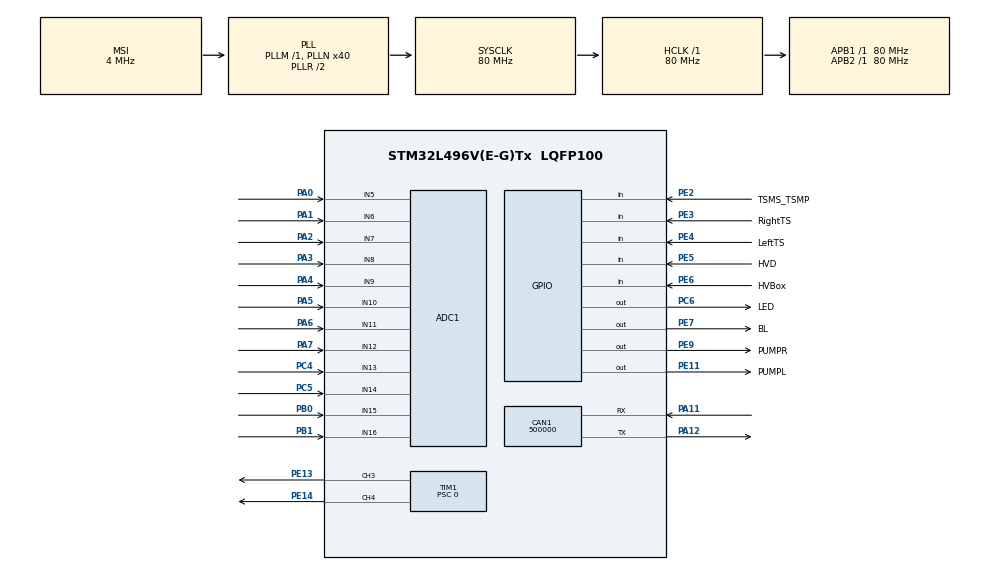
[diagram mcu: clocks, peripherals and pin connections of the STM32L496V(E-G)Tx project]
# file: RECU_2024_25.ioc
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ADC1.Channel-0\#ChannelRegularConversion=ADC_CHANNEL_5
ADC1.Channel-1\#ChannelRegularConversion=ADC_CHANNEL_6
ADC1.Channel-10\#ChannelRegularConversion=ADC_CHANNEL_15
ADC1.Channel-11\#ChannelRegularConversion=ADC_CHANNEL_16
ADC1.Channel-2\#ChannelRegularConversion=ADC_CHANNEL_7
ADC1.Channel-3\#ChannelRegularConversion=ADC_CHANNEL_8
ADC1.Channel-4\#ChannelRegularConversion=ADC_CHANNEL_9
ADC1.Channel-5\#ChannelRegularConversion=ADC_CHANNEL_10
ADC1.Channel-6\#ChannelRegularConversion=ADC_CHANNEL_11
ADC1.Channel-7\#ChannelRegularConversion=ADC_CHANNEL_12
ADC1.Channel-8\#ChannelRegularConversion=ADC_CHANNEL_13
ADC1.Channel-9\#ChannelRegularConversion=ADC_CHANNEL_14
ADC1.ClockPrescaler=ADC_CLOCK_ASYNC_DIV16
ADC1.ContinuousConvMode=ENABLE
ADC1.DMAContinuousRequests=ENABLE
ADC1.ExternalTrigConv=ADC_EXTERNALTRIG_T8_TRGO
ADC1.NbrOfConversion=12
ADC1.NbrOfConversionFlag=1
ADC1.OffsetNumber-0\#ChannelRegularConversion=ADC_OFFSET_NONE
ADC1.OffsetNumber-1\#ChannelRegularConversion=ADC_OFFSET_NONE
ADC1.OffsetNumber-10\#ChannelRegularConversion=ADC_OFFSET_NONE
ADC1.OffsetNumber-11\#ChannelRegularConversion=ADC_OFFSET_NONE
ADC1.OffsetNumber-2\#ChannelRegularConversion=ADC_OFFSET_NONE
ADC1.OffsetNumber-3\#ChannelRegularConversion=ADC_OFFSET_NONE
ADC1.OffsetNumber-4\#ChannelRegularConversion=ADC_OFFSET_NONE
ADC1.OffsetNumber-5\#ChannelRegularConversion=ADC_OFFSET_NONE
ADC1.OffsetNumber-6\#ChannelRegularConversion=ADC_OFFSET_NONE
ADC1.OffsetNumber-7\#ChannelRegularConversion=ADC_OFFSET_NONE
ADC1.OffsetNumber-8\#ChannelRegularConversion=ADC_OFFSET_NONE
ADC1.OffsetNumber-9\#ChannelRegularConversion=ADC_OFFSET_NONE
ADC1.Rank-0\#ChannelRegularConversion=1
ADC1.Rank-1\#ChannelRegularConversion=2
ADC1.Rank-10\#ChannelRegularConversion=11
ADC1.Rank-11\#ChannelRegularConversion=12
ADC1.Rank-2\#ChannelRegularConversion=3
ADC1.Rank-3\#ChannelRegularConversion=4
ADC1.Rank-4\#ChannelRegularConversion=5
ADC1.Rank-5\#ChannelRegularConversion=6
ADC1.Rank-6\#ChannelRegularConversion=7
ADC1.Rank-7\#ChannelRegularConversion=8
ADC1.Rank-8\#ChannelRegularConversion=9
ADC1.Rank-9\#ChannelRegularConversion=10
ADC1.SamplingTime-0\#ChannelRegularConversion=ADC_SAMPLETIME_24CYCLES_5
ADC1.SamplingTime-1\#ChannelRegularConversion=ADC_SAMPLETIME_24CYCLES_5
ADC1.SamplingTime-10\#ChannelRegularConversion=ADC_SAMPLETIME_24CYCLES_5
ADC1.SamplingTime-11\#ChannelRegularConversion=ADC_SAMPLETIME_24CYCLES_5
ADC1.SamplingTime-2\#ChannelRegularConversion=ADC_SAMPLETIME_24CYCLES_5
ADC1.SamplingTime-3\#ChannelRegularConversion=ADC_SAMPLETIME_24CYCLES_5
ADC1.SamplingTime-4\#ChannelRegularConversion=ADC_SAMPLETIME_24CYCLES_5
ADC1.SamplingTime-5\#ChannelRegularConversion=ADC_SAMPLETIME_24CYCLES_5
ADC1.SamplingTime-6\#ChannelRegularConversion=ADC_SAMPLETIME_24CYCLES_5
ADC1.SamplingTime-7\#ChannelRegularConversion=ADC_SAMPLETIME_24CYCLES_5
ADC1.SamplingTime-8\#ChannelRegularConversion=ADC_SAMPLETIME_24CYCLES_5
ADC1.SamplingTime-9\#ChannelRegularConversion=ADC_SAMPLETIME_24CYCLES_5
ADC1.master=1
CAN1.BS1=CAN_BS1_6TQ
CAN1.BS2=CAN_BS2_3TQ
CAN1.CalculateBaudRate=500000
CAN1.CalculateTimeBit=2000
CAN1.CalculateTimeQuantum=200.0
Dma.ADC1.0.Direction=DMA_PERIPH_TO_MEMORY
Dma.ADC1.0.Instance=DMA1_Channel1
Dma.ADC1.0.MemDataAlignment=DMA_MDATAALIGN_HALFWORD
Dma.ADC1.0.MemInc=DMA_MINC_ENABLE
Dma.ADC1.0.Mode=DMA_CIRCULAR
Dma.ADC1.0.PeriphDataAlignment=DMA_PDATAALIGN_HALFWORD
Dma.ADC1.0.PeriphInc=DMA_PINC_DISABLE
Dma.ADC1.0.Priority=DMA_PRIORITY_MEDIUM
Dma.Request0=ADC1
FREERTOS.BinarySemaphores01=BinSemControl,Dynamic,NULL,Depleted
FREERTOS.Tasks01=CAN,2,128,StartCAN,Default,NULL,Dynamic,NULL,NULL;ADC,0,128,StartADC,Default,NULL,Dynamic,NULL,NULL;Shutdown,-1,128,StartShutdown,Default,NULL,Dynamic,NULL,NULL;Control,1,128,StartControl,Default,NULL,Dynamic,NULL,NULL
FREERTOS.configUSE_NEWLIB_REENTRANT=1
Mcu.Family=STM32L4
Mcu.Name=STM32L496V(E-G)Tx
Mcu.Package=LQFP100
NVIC.ADC1_2_IRQn=true\:5\:0\:false\:false\:true\:true\:true\:true\:true
NVIC.CAN1_RX0_IRQn=true\:5\:0\:false\:false\:true\:true\:true\:true\:true
NVIC.CAN1_RX1_IRQn=true\:5\:0\:false\:false\:true\:true\:true\:true\:true
NVIC.DMA1_Channel1_IRQn=true\:5\:0\:false\:false\:true\:true\:false\:true\:true
NVIC.PriorityGroup=NVIC_PRIORITYGROUP_4
NVIC.TIM4_IRQn=true\:15\:0\:false\:false\:true\:false\:false\:true\:true
NVIC.TimeBase=TIM4_IRQn
NVIC.TimeBaseIP=TIM4
PA0.Signal=ADCx_IN5
PA1.Signal=ADCx_IN6
PA11.Mode=CAN_Activate
PA11.Signal=CAN1_RX
PA12.Mode=CAN_Activate
PA12.Signal=CAN1_TX
PA2.Signal=ADCx_IN7
PA3.Signal=ADCx_IN8
PA4.Signal=ADCx_IN9
PA5.Signal=ADCx_IN10
PA6.Signal=ADCx_IN11
PA7.Signal=ADCx_IN12
PB0.Signal=ADCx_IN15
PB1.Signal=ADCx_IN16
PC4.Signal=ADCx_IN13
PC5.Signal=ADCx_IN14
PC6.GPIO_Label=LED
PC6.Signal=GPIO_Output
PE11.GPIO_Label=PUMPL
PE11.Signal=GPIO_Output
PE13.Signal=S_TIM1_CH3
PE14.Signal=S_TIM1_CH4
PE2.GPIO_Label=TSMS_TSMP
PE2.Signal=GPIO_Input
PE3.GPIO_Label=RightTS
PE3.Signal=GPIO_Input
PE4.GPIO_Label=LeftTS
PE4.Signal=GPIO_Input
PE5.GPIO_Label=HVD
PE5.Signal=GPIO_Input
PE6.GPIO_Label=HVBox
PE6.Signal=GPIO_Input
PE7.GPIO_Label=BL
PE7.Signal=GPIO_Output
PE9.GPIO_Label=PUMPR
PE9.Signal=GPIO_Output
ProjectManager.HeapSize=0x200
ProjectManager.StackSize=0x400
ProjectManager.TargetToolchain=STM32CubeIDE
RCC.ADCFreq_Value=32000000
RCC.AHBFreq_Value=80000000
RCC.APB1Freq_Value=80000000
RCC.APB1TimFreq_Value=80000000
RCC.APB2Freq_Value=80000000
RCC.APB2TimFreq_Value=80000000
RCC.CortexFreq_Value=80000000
RCC.HCLKFreq_Value=80000000
RCC.HSE_VALUE=8000000
RCC.HSI48_VALUE=48000000
RCC.HSI_VALUE=16000000
RCC.LSE_VALUE=32768
RCC.MSI_VALUE=4000000
RCC.PLLN=40
RCC.PLLSAI1N=16
RCC.SYSCLKFreq_VALUE=80000000
RCC.SYSCLKSource=RCC_SYSCLKSOURCE_PLLCLK
RCC.USBFreq_Value=32000000
RCC.VCOOutputFreq_Value=160000000
SH.ADCx_IN10.0=ADC1_IN10,IN10-Single-Ended
SH.ADCx_IN11.0=ADC1_IN11,IN11-Single-Ended
SH.ADCx_IN12.0=ADC1_IN12,IN12-Single-Ended
SH.ADCx_IN13.0=ADC1_IN13,IN13-Single-Ended
SH.ADCx_IN14.0=ADC1_IN14,IN14-Single-Ended
SH.ADCx_IN15.0=ADC1_IN15,IN15-Single-Ended
SH.ADCx_IN16.0=ADC1_IN16,IN16-Single-Ended
SH.ADCx_IN5.0=ADC1_IN5,IN5-Single-Ended
SH.ADCx_IN6.0=ADC1_IN6,IN6-Single-Ended
SH.ADCx_IN7.0=ADC1_IN7,IN7-Single-Ended
SH.ADCx_IN8.0=ADC1_IN8,IN8-Single-Ended
SH.ADCx_IN9.0=ADC1_IN9,IN9-Single-Ended
SH.S_TIM1_CH3.0=TIM1_CH3,PWM Generation3 CH3
SH.S_TIM1_CH4.0=TIM1_CH4,PWM Generation4 CH4
TIM1.Channel-PWM\ Generation3\ CH3=TIM_CHANNEL_3
TIM1.Channel-PWM\ Generation4\ CH4=TIM_CHANNEL_4
TIM1.Period=4000
TIM1.Prescaler=0
TIM8.Prescaler=20
TIM8.TIM_MasterOutputTrigger=TIM_TRGO_UPDATE
TIM8.TIM_MasterOutputTrigger2=TIM_TRGO2_UPDATE
VP_FREERTOS_VS_CMSIS_V1.Mode=CMSIS_V1
VP_SYS_VS_tim4.Mode=TIM4
VP_TIM8_VS_ClockSourceINT.Mode=Internal
board=custom

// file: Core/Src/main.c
/* USER CODE BEGIN Header */
/**
  ******************************************************************************
  * @file           : main.c
  * @brief          : Main program body
  ******************************************************************************
  * @attention
  *
  * Copyright (c) 2025 STMicroelectronics.
  * All rights reserved.
  *
  * This software is licensed under terms that can be found in the LICENSE file
  * in the root directory of this software component.
  * If no LICENSE file comes with this software, it is provided AS-IS.
  *
  ******************************************************************************
  */
/* USER CODE END Header */
#include "main.h"
#include "cmsis_os.h"

/* USER CODE BEGIN Includes */
#include "CAN_X_2025.h"
#include "CAN.h"
/* USER CODE END Includes */

ADC_HandleTypeDef hadc1;
DMA_HandleTypeDef hdma_adc1;

CAN_HandleTypeDef hcan1;

TIM_HandleTypeDef htim1;
TIM_HandleTypeDef htim8;

osThreadId CANHandle;
osThreadId ADCHandle;
osThreadId ShutdownHandle;
osThreadId ControlHandle;
osSemaphoreId BinSemControlHandle;
/* USER CODE BEGIN PV */
// Adc
uint16_t adc_buffer[12];
// Can
uint8_t TxData[8];
uint8_t RxData[8];
uint32_t TxMailbox;
CAN_TxHeaderTypeDef TxHeader;
CAN_RxHeaderTypeDef RxHeader;

typedef enum {
	RAW_RECU_Data,
	STAT_RECU_Keep_Alive,
}STATES;

STATES CAN_FSM_STATE;
uint16_t dutycycle_L;
uint16_t dutycycle_R;

// Cooling
float Temp_L = 0;
float Temp_R = 0;
uint8_t flag;
uint8_t flag1;
/* USER CODE END PV */

void SystemClock_Config(void);
static void MX_GPIO_Init(void);
static void MX_DMA_Init(void);
static void MX_ADC1_Init(void);
static void MX_CAN1_Init(void);
static void MX_TIM8_Init(void);
static void MX_TIM1_Init(void);
void StartCAN(void const * argument);
void StartADC(void const * argument);
void StartShutdown(void const * argument);
void StartControl(void const * argument);

int main(void)
{

  /* MCU Configuration--------------------------------------------------------*/

  /* Reset of all peripherals, Initializes the Flash interface and the Systick. */
  HAL_Init();

  /* Configure the system clock */
  SystemClock_Config();

  /* Initialize all configured peripherals */
  MX_GPIO_Init();
  MX_DMA_Init();
  MX_ADC1_Init();
  MX_CAN1_Init();
  MX_TIM8_Init();
  MX_TIM1_Init();
  /* USER CODE BEGIN 2 */
  //-------------StartCAN---------------------------
  HAL_CAN_Start(&hcan1);
  HAL_CAN_ActivateNotification(&hcan1, CAN_IT_RX_FIFO0_MSG_PENDING);

  Init_CAN_Filter(&hcan1);
  HAL_Delay(100);
  //-------------StartDMA---------------------------
  HAL_ADC_Start_DMA(&hadc1,(uint32_t*) adc_buffer, 12);
  HAL_TIM_Base_Start(&htim8);

  //-------------PWM--------------------------------
  HAL_TIM_PWM_Start(&htim1, TIM_CHANNEL_3);
  HAL_TIM_PWM_Start(&htim1, TIM_CHANNEL_4);

  flag = 0;
  CAN_FSM_STATE = RAW_RECU_Data;
  Rear_Alive = 0;
  /* USER CODE END 2 */

  /* Create the semaphores(s) */
  /* definition and creation of BinSemControl */
  osSemaphoreDef(BinSemControl);
  BinSemControlHandle = osSemaphoreCreate(osSemaphore(BinSemControl), 1);

  /* Create the thread(s) */
  /* definition and creation of CAN */
  osThreadDef(CAN, StartCAN, osPriorityHigh, 0, 128);
  CANHandle = osThreadCreate(osThread(CAN), NULL);

  /* definition and creation of ADC */
  osThreadDef(ADC, StartADC, osPriorityNormal, 0, 128);
  ADCHandle = osThreadCreate(osThread(ADC), NULL);

  /* definition and creation of Shutdown */
  osThreadDef(Shutdown, StartShutdown, osPriorityBelowNormal, 0, 128);
  ShutdownHandle = osThreadCreate(osThread(Shutdown), NULL);

  /* definition and creation of Control */
  osThreadDef(Control, StartControl, osPriorityAboveNormal, 0, 128);
  ControlHandle = osThreadCreate(osThread(Control), NULL);

  /* Start scheduler */
  osKernelStart();

  /* We should never get here as control is now taken by the scheduler */

  /* Infinite loop */
  while (1)
  {

  }
}

void SystemClock_Config(void)
{
  RCC_OscInitTypeDef RCC_OscInitStruct = {0};
  RCC_ClkInitTypeDef RCC_ClkInitStruct = {0};

  /** Configure the main internal regulator output voltage
  */
  if (HAL_PWREx_ControlVoltageScaling(PWR_REGULATOR_VOLTAGE_SCALE1) != HAL_OK)
  {
    Error_Handler();
  }

  /** Initializes the RCC Oscillators according to the specified parameters
  * in the RCC_OscInitTypeDef structure.
  */
  RCC_OscInitStruct.OscillatorType = RCC_OSCILLATORTYPE_MSI;
  RCC_OscInitStruct.MSIState = RCC_MSI_ON;
  RCC_OscInitStruct.MSICalibrationValue = 0;
  RCC_OscInitStruct.MSIClockRange = RCC_MSIRANGE_6;
  RCC_OscInitStruct.PLL.PLLState = RCC_PLL_ON;
  RCC_OscInitStruct.PLL.PLLSource = RCC_PLLSOURCE_MSI;
  RCC_OscInitStruct.PLL.PLLM = 1;
  RCC_OscInitStruct.PLL.PLLN = 40;
  RCC_OscInitStruct.PLL.PLLP = RCC_PLLP_DIV2;
  RCC_OscInitStruct.PLL.PLLQ = RCC_PLLQ_DIV2;
  RCC_OscInitStruct.PLL.PLLR = RCC_PLLR_DIV2;
  if (HAL_RCC_OscConfig(&RCC_OscInitStruct) != HAL_OK)
  {
    Error_Handler();
  }

  /** Initializes the CPU, AHB and APB buses clocks
  */
  RCC_ClkInitStruct.ClockType = RCC_CLOCKTYPE_HCLK|RCC_CLOCKTYPE_SYSCLK
                              |RCC_CLOCKTYPE_PCLK1|RCC_CLOCKTYPE_PCLK2;
  RCC_ClkInitStruct.SYSCLKSource = RCC_SYSCLKSOURCE_PLLCLK;
  RCC_ClkInitStruct.AHBCLKDivider = RCC_SYSCLK_DIV1;
  RCC_ClkInitStruct.APB1CLKDivider = RCC_HCLK_DIV1;
  RCC_ClkInitStruct.APB2CLKDivider = RCC_HCLK_DIV1;

  if (HAL_RCC_ClockConfig(&RCC_ClkInitStruct, FLASH_LATENCY_4) != HAL_OK)
  {
    Error_Handler();
  }
}

static void MX_ADC1_Init(void)
{

  ADC_MultiModeTypeDef multimode = {0};
  ADC_ChannelConfTypeDef sConfig = {0};

  /** Common config
  */
  hadc1.Instance = ADC1;
  hadc1.Init.ClockPrescaler = ADC_CLOCK_ASYNC_DIV16;
  hadc1.Init.Resolution = ADC_RESOLUTION_12B;
  hadc1.Init.DataAlign = ADC_DATAALIGN_RIGHT;
  hadc1.Init.ScanConvMode = ADC_SCAN_ENABLE;
  hadc1.Init.EOCSelection = ADC_EOC_SINGLE_CONV;
  hadc1.Init.LowPowerAutoWait = DISABLE;
  hadc1.Init.ContinuousConvMode = ENABLE;
  hadc1.Init.NbrOfConversion = 12;
  hadc1.Init.DiscontinuousConvMode = DISABLE;
  hadc1.Init.ExternalTrigConv = ADC_EXTERNALTRIG_T8_TRGO;
  hadc1.Init.ExternalTrigConvEdge = ADC_EXTERNALTRIGCONVEDGE_RISING;
  hadc1.Init.DMAContinuousRequests = ENABLE;
  hadc1.Init.Overrun = ADC_OVR_DATA_PRESERVED;
  hadc1.Init.OversamplingMode = DISABLE;
  if (HAL_ADC_Init(&hadc1) != HAL_OK)
  {
    Error_Handler();
  }

  /** Configure the ADC multi-mode
  */
  multimode.Mode = ADC_MODE_INDEPENDENT;
  if (HAL_ADCEx_MultiModeConfigChannel(&hadc1, &multimode) != HAL_OK)
  {
    Error_Handler();
  }

  /** Configure Regular Channel
  */
  sConfig.Channel = ADC_CHANNEL_5;
  sConfig.Rank = ADC_REGULAR_RANK_1;
  sConfig.SamplingTime = ADC_SAMPLETIME_24CYCLES_5;
  sConfig.SingleDiff = ADC_SINGLE_ENDED;
  sConfig.OffsetNumber = ADC_OFFSET_NONE;
  sConfig.Offset = 0;
  if (HAL_ADC_ConfigChannel(&hadc1, &sConfig) != HAL_OK)
  {
    Error_Handler();
  }

  /** Configure Regular Channel
  */
  sConfig.Channel = ADC_CHANNEL_6;
  sConfig.Rank = ADC_REGULAR_RANK_2;
  if (HAL_ADC_ConfigChannel(&hadc1, &sConfig) != HAL_OK)
  {
    Error_Handler();
  }

  /** Configure Regular Channel
  */
  sConfig.Channel = ADC_CHANNEL_7;
  sConfig.Rank = ADC_REGULAR_RANK_3;
  if (HAL_ADC_ConfigChannel(&hadc1, &sConfig) != HAL_OK)
  {
    Error_Handler();
  }

  /** Configure Regular Channel
  */
  sConfig.Channel = ADC_CHANNEL_8;
  sConfig.Rank = ADC_REGULAR_RANK_4;
  if (HAL_ADC_ConfigChannel(&hadc1, &sConfig) != HAL_OK)
  {
    Error_Handler();
  }

  /** Configure Regular Channel
  */
  sConfig.Channel = ADC_CHANNEL_9;
  sConfig.Rank = ADC_REGULAR_RANK_5;
  if (HAL_ADC_ConfigChannel(&hadc1, &sConfig) != HAL_OK)
  {
    Error_Handler();
  }

  /** Configure Regular Channel
  */
  sConfig.Channel = ADC_CHANNEL_10;
  sConfig.Rank = ADC_REGULAR_RANK_6;
  if (HAL_ADC_ConfigChannel(&hadc1, &sConfig) != HAL_OK)
  {
    Error_Handler();
  }

  /** Configure Regular Channel
  */
  sConfig.Channel = ADC_CHANNEL_11;
  sConfig.Rank = ADC_REGULAR_RANK_7;
  if (HAL_ADC_ConfigChannel(&hadc1, &sConfig) != HAL_OK)
  {
    Error_Handler();
  }

  /** Configure Regular Channel
  */
  sConfig.Channel = ADC_CHANNEL_12;
  sConfig.Rank = ADC_REGULAR_RANK_8;
  if (HAL_ADC_ConfigChannel(&hadc1, &sConfig) != HAL_OK)
  {
    Error_Handler();
  }

  /** Configure Regular Channel
  */
  sConfig.Channel = ADC_CHANNEL_13;
  sConfig.Rank = ADC_REGULAR_RANK_9;
  if (HAL_ADC_ConfigChannel(&hadc1, &sConfig) != HAL_OK)
  {
    Error_Handler();
  }

  /** Configure Regular Channel
  */
  sConfig.Channel = ADC_CHANNEL_14;
  sConfig.Rank = ADC_REGULAR_RANK_10;
  if (HAL_ADC_ConfigChannel(&hadc1, &sConfig) != HAL_OK)
  {
    Error_Handler();
  }

  /** Configure Regular Channel
  */
  sConfig.Channel = ADC_CHANNEL_15;
  sConfig.Rank = ADC_REGULAR_RANK_11;
  if (HAL_ADC_ConfigChannel(&hadc1, &sConfig) != HAL_OK)
  {
    Error_Handler();
  }

  /** Configure Regular Channel
  */
  sConfig.Channel = ADC_CHANNEL_16;
  sConfig.Rank = ADC_REGULAR_RANK_12;
  if (HAL_ADC_ConfigChannel(&hadc1, &sConfig) != HAL_OK)
  {
    Error_Handler();
  }

}

static void MX_CAN1_Init(void)
{

  hcan1.Instance = CAN1;
  hcan1.Init.Prescaler = 16;
  hcan1.Init.Mode = CAN_MODE_NORMAL;
  hcan1.Init.SyncJumpWidth = CAN_SJW_1TQ;
  hcan1.Init.TimeSeg1 = CAN_BS1_6TQ;
  hcan1.Init.TimeSeg2 = CAN_BS2_3TQ;
  hcan1.Init.TimeTriggeredMode = DISABLE;
  hcan1.Init.AutoBusOff = DISABLE;
  hcan1.Init.AutoWakeUp = DISABLE;
  hcan1.Init.AutoRetransmission = DISABLE;
  hcan1.Init.ReceiveFifoLocked = DISABLE;
  hcan1.Init.TransmitFifoPriority = DISABLE;
  if (HAL_CAN_Init(&hcan1) != HAL_OK)
  {
    Error_Handler();
  }

}

static void MX_TIM1_Init(void)
{

  TIM_MasterConfigTypeDef sMasterConfig = {0};
  TIM_OC_InitTypeDef sConfigOC = {0};
  TIM_BreakDeadTimeConfigTypeDef sBreakDeadTimeConfig = {0};

  htim1.Instance = TIM1;
  htim1.Init.Prescaler = 0;
  htim1.Init.CounterMode = TIM_COUNTERMODE_UP;
  htim1.Init.Period = 4000;
  htim1.Init.ClockDivision = TIM_CLOCKDIVISION_DIV1;
  htim1.Init.RepetitionCounter = 0;
  htim1.Init.AutoReloadPreload = TIM_AUTORELOAD_PRELOAD_DISABLE;
  if (HAL_TIM_PWM_Init(&htim1) != HAL_OK)
  {
    Error_Handler();
  }
  sMasterConfig.MasterOutputTrigger = TIM_TRGO_RESET;
  sMasterConfig.MasterOutputTrigger2 = TIM_TRGO2_RESET;
  sMasterConfig.MasterSlaveMode = TIM_MASTERSLAVEMODE_DISABLE;
  if (HAL_TIMEx_MasterConfigSynchronization(&htim1, &sMasterConfig) != HAL_OK)
  {
    Error_Handler();
  }
  sConfigOC.OCMode = TIM_OCMODE_PWM1;
  sConfigOC.Pulse = 0;
  sConfigOC.OCPolarity = TIM_OCPOLARITY_HIGH;
  sConfigOC.OCNPolarity = TIM_OCNPOLARITY_HIGH;
  sConfigOC.OCFastMode = TIM_OCFAST_DISABLE;
  sConfigOC.OCIdleState = TIM_OCIDLESTATE_RESET;
  sConfigOC.OCNIdleState = TIM_OCNIDLESTATE_RESET;
  if (HAL_TIM_PWM_ConfigChannel(&htim1, &sConfigOC, TIM_CHANNEL_3) != HAL_OK)
  {
    Error_Handler();
  }
  if (HAL_TIM_PWM_ConfigChannel(&htim1, &sConfigOC, TIM_CHANNEL_4) != HAL_OK)
  {
    Error_Handler();
  }
  sBreakDeadTimeConfig.OffStateRunMode = TIM_OSSR_DISABLE;
  sBreakDeadTimeConfig.OffStateIDLEMode = TIM_OSSI_DISABLE;
  sBreakDeadTimeConfig.LockLevel = TIM_LOCKLEVEL_OFF;
  sBreakDeadTimeConfig.DeadTime = 0;
  sBreakDeadTimeConfig.BreakState = TIM_BREAK_DISABLE;
  sBreakDeadTimeConfig.BreakPolarity = TIM_BREAKPOLARITY_HIGH;
  sBreakDeadTimeConfig.BreakFilter = 0;
  sBreakDeadTimeConfig.Break2State = TIM_BREAK2_DISABLE;
  sBreakDeadTimeConfig.Break2Polarity = TIM_BREAK2POLARITY_HIGH;
  sBreakDeadTimeConfig.Break2Filter = 0;
  sBreakDeadTimeConfig.AutomaticOutput = TIM_AUTOMATICOUTPUT_DISABLE;
  if (HAL_TIMEx_ConfigBreakDeadTime(&htim1, &sBreakDeadTimeConfig) != HAL_OK)
  {
    Error_Handler();
  }
  HAL_TIM_MspPostInit(&htim1);

}

static void MX_TIM8_Init(void)
{

  TIM_ClockConfigTypeDef sClockSourceConfig = {0};
  TIM_MasterConfigTypeDef sMasterConfig = {0};

  htim8.Instance = TIM8;
  htim8.Init.Prescaler = 20;
  htim8.Init.CounterMode = TIM_COUNTERMODE_UP;
  htim8.Init.Period = 65535;
  htim8.Init.ClockDivision = TIM_CLOCKDIVISION_DIV1;
  htim8.Init.RepetitionCounter = 0;
  htim8.Init.AutoReloadPreload = TIM_AUTORELOAD_PRELOAD_DISABLE;
  if (HAL_TIM_Base_Init(&htim8) != HAL_OK)
  {
    Error_Handler();
  }
  sClockSourceConfig.ClockSource = TIM_CLOCKSOURCE_INTERNAL;
  if (HAL_TIM_ConfigClockSource(&htim8, &sClockSourceConfig) != HAL_OK)
  {
    Error_Handler();
  }
  sMasterConfig.MasterOutputTrigger = TIM_TRGO_UPDATE;
  sMasterConfig.MasterOutputTrigger2 = TIM_TRGO2_UPDATE;
  sMasterConfig.MasterSlaveMode = TIM_MASTERSLAVEMODE_DISABLE;
  if (HAL_TIMEx_MasterConfigSynchronization(&htim8, &sMasterConfig) != HAL_OK)
  {
    Error_Handler();
  }

}

static void MX_DMA_Init(void)
{

  /* DMA controller clock enable */
  __HAL_RCC_DMA1_CLK_ENABLE();

  /* DMA interrupt init */
  /* DMA1_Channel1_IRQn interrupt configuration */
  HAL_NVIC_SetPriority(DMA1_Channel1_IRQn, 5, 0);
  HAL_NVIC_EnableIRQ(DMA1_Channel1_IRQn);

}

static void MX_GPIO_Init(void)
{
  GPIO_InitTypeDef GPIO_InitStruct = {0};

  /* GPIO Ports Clock Enable */
  __HAL_RCC_GPIOE_CLK_ENABLE();
  __HAL_RCC_GPIOA_CLK_ENABLE();
  __HAL_RCC_GPIOC_CLK_ENABLE();
  __HAL_RCC_GPIOB_CLK_ENABLE();

  /*Configure GPIO pin Output Level */
  HAL_GPIO_WritePin(GPIOE, BL_Pin|PUMPR_Pin|PUMPL_Pin, GPIO_PIN_RESET);

  /*Configure GPIO pin Output Level */
  HAL_GPIO_WritePin(LED_GPIO_Port, LED_Pin, GPIO_PIN_RESET);

  /*Configure GPIO pins : TSMS_TSMP_Pin RightTS_Pin LeftTS_Pin HVD_Pin
                           HVBox_Pin */
  GPIO_InitStruct.Pin = TSMS_TSMP_Pin|RightTS_Pin|LeftTS_Pin|HVD_Pin
                          |HVBox_Pin;
  GPIO_InitStruct.Mode = GPIO_MODE_INPUT;
  GPIO_InitStruct.Pull = GPIO_NOPULL;
  HAL_GPIO_Init(GPIOE, &GPIO_InitStruct);

  /*Configure GPIO pins : BL_Pin PUMPR_Pin PUMPL_Pin */
  GPIO_InitStruct.Pin = BL_Pin|PUMPR_Pin|PUMPL_Pin;
  GPIO_InitStruct.Mode = GPIO_MODE_OUTPUT_PP;
  GPIO_InitStruct.Pull = GPIO_NOPULL;
  GPIO_InitStruct.Speed = GPIO_SPEED_FREQ_LOW;
  HAL_GPIO_Init(GPIOE, &GPIO_InitStruct);

  /*Configure GPIO pin : LED_Pin */
  GPIO_InitStruct.Pin = LED_Pin;
  GPIO_InitStruct.Mode = GPIO_MODE_OUTPUT_PP;
  GPIO_InitStruct.Pull = GPIO_NOPULL;
  GPIO_InitStruct.Speed = GPIO_SPEED_FREQ_LOW;
  HAL_GPIO_Init(LED_GPIO_Port, &GPIO_InitStruct);

}

/* USER CODE BEGIN 4 */
void HAL_CAN_RxFifo0MsgPendingCallback(CAN_HandleTypeDef *hcan1)
  {
	if (HAL_CAN_GetRxMessage(hcan1, CAN_RX_FIFO0, &RxHeader, RxData) == HAL_OK){

		if (RxHeader.StdId == 4) { //missatge rebut per CAN2
				message_canrx_PROC_ETAS_Inverter_R_Data(RxData);
		//		osSemaphoreRelease(BinSemControlHandle);
			}
		if(RxHeader.StdId == 3) { //missatge rebut per CAN2
				message_canrx_PROC_ETAS_Inverter_L_Data(RxData);
		//		osSemaphoreRelease(BinSemControlHandle);
			}
		if(RxHeader.StdId == 49) { //missatge rebut per CAN2
				message_canrx_CTRL_DASH_Driver_Inputs(RxData);
		//		osSemaphoreRelease(BinSemControlHandle);
			}
		if(RxHeader.StdId == 2) { //missatge rebut per CAN2
				message_canrx_CTRL_ETAS_System(RxData);
		//		osSemaphoreRelease(BinSemControlHandle);
			}
	}
  }
/* USER CODE END 4 */

void StartCAN(void const * argument)
{
  /* USER CODE BEGIN 5 */
  /* Infinite loop */
  for(;;)
  {
//	  switch (CAN_FSM_STATE) {
//	  case RAW_RECU_Data:
//		  message_cantx_RAW_RECU_Data(TxHeader, hcan1, TxMailbox, TxData);
//		  CAN_FSM_STATE = STAT_RECU_Keep_Alive;
//		  vTaskDelay(5);
//	  break;
//	  case STAT_RECU_Keep_Alive:
//		  message_cantx_STAT_RECU_Keep_Alive(TxHeader, hcan1, TxMailbox, TxData);
//		  CAN_FSM_STATE = RAW_RECU_Data;
//		  vTaskDelay(20);
//	  break;
//	  }
	  Rear_Alive ++;
	  message_cantx_STAT_RECU_Keep_Alive(TxHeader, hcan1, TxMailbox, TxData);
	  vTaskDelay(50);
	  Rear_Alive ++;
	  message_cantx_RAW_RECU_Data(TxHeader, hcan1, TxMailbox, TxData);
	  message_cantx_STAT_RECU_Keep_Alive(TxHeader, hcan1, TxMailbox, TxData);
	  vTaskDelay(50);
  }
  /* USER CODE END 5 */
}

void StartADC(void const * argument)
{
  /* USER CODE BEGIN StartADC */
  /* Infinite loop */
  for(;;)
  {
	  Susp_R_R_Bits = adc_buffer[9];
	  Susp_R_L_Bits  = adc_buffer[10];
	vTaskDelay(25);
  }
  /* USER CODE END StartADC */
}

void StartShutdown(void const * argument)
{
  /* USER CODE BEGIN StartShutdown */
  /* Infinite loop */
  for(;;)
  {
	  Shutdown_TSMS_TSMP = HAL_GPIO_ReadPin(TSMS_TSMP_GPIO_Port, TSMS_TSMP_Pin);
	  Shutdown_RightTS = HAL_GPIO_ReadPin(RightTS_GPIO_Port, RightTS_Pin);
	  Shutdown_LeftTS = HAL_GPIO_ReadPin(LeftTS_GPIO_Port, LeftTS_Pin);
	  Shutdown_HVD = HAL_GPIO_ReadPin(HVD_GPIO_Port, HVD_Pin);
	  Shutdown_HVBox = HAL_GPIO_ReadPin(HVBox_GPIO_Port, HVBox_Pin);
    vTaskDelay(10);
  }
  /* USER CODE END StartShutdown */
}

void StartControl(void const * argument)
{
  /* USER CODE BEGIN StartControl */
  /* Infinite loop */
  for(;;)
  {
//	 osSemaphoreWait(BinSemControlHandle, HAL_MAX_DELAY);
	 //(left/right_temperature - ambient_temperature) / maximum_temperature - ambient_temperature)()
	 Temp_L = ((float)(Inv_L_TempMotor-250)/(float)(MaxTemp-250));
	 Temp_R = ((float)(Inv_R_TempMotor-250)/(float)(MaxTemp-250));
	 dutycycle_L = (uint16_t)(4000-(4000*Temp_L));
	 dutycycle_R = (uint16_t)(4000-(4000*Temp_R));
	 if (Refri_Motors == CoolingOff) { //right
		 __HAL_TIM_SET_COMPARE(&htim1, TIM_CHANNEL_3, 4000); //right
	 } else if (Refri_Motors == CoolingOn) {
		 __HAL_TIM_SET_COMPARE(&htim1, TIM_CHANNEL_3, dutycycle_R); //right
	 } else if (Refri_Motors == CoolingMax) {
		 __HAL_TIM_SET_COMPARE(&htim1, TIM_CHANNEL_3, 0); //right
		 flag = 5;
	 }

	 if (Refri_Inverters == CoolingOff) { //left
		 __HAL_TIM_SET_COMPARE(&htim1, TIM_CHANNEL_4, 4000); //left
	 } else if (Refri_Inverters == CoolingOn) {
		 __HAL_TIM_SET_COMPARE(&htim1, TIM_CHANNEL_4, dutycycle_L); //left
	 } else if (Refri_Inverters == CoolingMax) {
		 __HAL_TIM_SET_COMPARE(&htim1, TIM_CHANNEL_4, 0); //left
	 }

	 if (BrakeLight_Control == 0) {
		  HAL_GPIO_WritePin(LED_GPIO_Port, LED_Pin, 0); //BL
		  HAL_GPIO_WritePin(GPIOE, GPIO_PIN_7, 0); //BL
	 } else if (BrakeLight_Control == 1) {
		  HAL_GPIO_WritePin(LED_GPIO_Port, LED_Pin, 1); //BL
		  HAL_GPIO_WritePin(GPIOE, GPIO_PIN_7, 1); //BL
	 }

	 if (Car_OK == 1) {
		  HAL_GPIO_WritePin(GPIOE, GPIO_PIN_9, 0); //PUMPR
		  HAL_GPIO_WritePin(GPIOE, GPIO_PIN_11, 0); //PUMPL
	 } else if (Car_OK == 0) {
		  HAL_GPIO_WritePin(GPIOE, GPIO_PIN_9, 1); //PUMPR
		  HAL_GPIO_WritePin(GPIOE, GPIO_PIN_11, 1); //PUMPL
	 }

    osDelay(25);
  }
  /* USER CODE END StartControl */
}

void HAL_TIM_PeriodElapsedCallback(TIM_HandleTypeDef *htim)
{
  if (htim->Instance == TIM4) {
    HAL_IncTick();
  }
}

void Error_Handler(void)
{
  __disable_irq();
  while (1)
  {
  }
}
